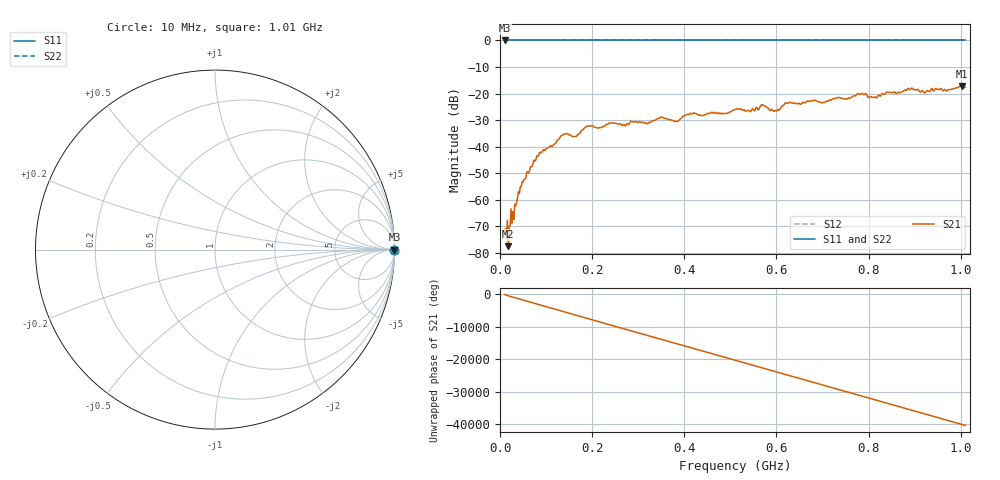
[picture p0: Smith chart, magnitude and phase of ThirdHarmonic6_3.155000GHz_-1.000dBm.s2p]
! 8/17/2025 9:27:31 AM
! C:\ANRITSUVNA\TEMP\TEMP.S2P
! CHANNEL.1
! TR.MEASUREMENT
! RAW.DATA
! RF.CORRECTION.OFF
! AVERAGING.OFF
! IF.BANDWIDTH: 5KHZ
! SWEEPTYPE:  FREQ.SWEEP(Linear)
! Reference Plane Port Info
! PORT:  PORT1  PORT2
! DISTANCE:  0  m  0  m
! TIME:  0  s  0  s
! PHASE.OFFSET:  0  deg.  0  deg.
! LOSS:  0  dB  0  dB
! REF.LOSS:  0  dB  0  dB
! REF.FREQ:  0  Hz  0  Hz
! Power Info
! POWER:  -20  dBm  -20  dBm
! EFF.POWER:  -20  dBm  -20  dBm
! SOURCE.ATTEN:  0  dB  0  dB
! TEST.ATTEN:  0  dB  0  dB
# GHZ S RI R 50.0
! FREQ.GHZ  S11RE  S11IM  S21RE  S21IM  S12RE  S12IM  S22RE  S22IM
!; PortSelection: Port_12
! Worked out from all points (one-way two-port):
!   501 points, 10 MHz to 1.01 GHz, reference 50 ohm
!   highest |S21| = -17.12 dB at 1.002 GHz (marker M1); lowest = -77.5 dB at 18 MHz (marker M2)
!   lowest |S11| = 0.0 dB at 10 MHz (marker M3)
!   |S11| at or under -10 dB: nowhere
!   |S22| runs from 0.0 to 0.0 dB; largest |S21 - S12| = 1.1
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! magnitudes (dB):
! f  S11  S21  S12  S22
! 10 MHz  0.0  -71.4  0.0  0.0
! 18 MHz  0.0  -77.5  0.0  0.0
! 48 MHz  0.0  -53.3  0.0  0.0
! 84 MHz  0.0  -43.4  0.0  0.0
! 136 MHz  0.0  -35.7  0.0  0.0
! 162 MHz  0.0  -36.2  0.0  0.0
! 178 MHz  0.0  -33.8  0.0  0.0
! 344 MHz  0.0  -29.4  0.0  0.0
! 382 MHz  0.0  -30.4  0.0  0.0
! 416 MHz  0.0  -27.7  0.0  0.0
! 510 MHz  0.0  -26.0  0.0  0.0
! 540 MHz  0.0  -26.3  0.0  0.0
! 570 MHz  0.0  -24.2  0.0  0.0
! 598 MHz  0.0  -26.4  0.0  0.0
! 622 MHz  0.0  -23.7  0.0  0.0
! 678 MHz  0.0  -22.8  0.0  0.0
! 702 MHz  0.0  -23.3  0.0  0.0
! 782 MHz  0.0  -20.3  0.0  0.0
! 814 MHz  0.0  -21.3  0.0  0.0
! 844 MHz  0.0  -19.6  0.0  0.0
! 1.002 GHz  0.0  -17.1  0.0  0.0
! 1.01 GHz  0.0  -17.7  0.0  0.0
